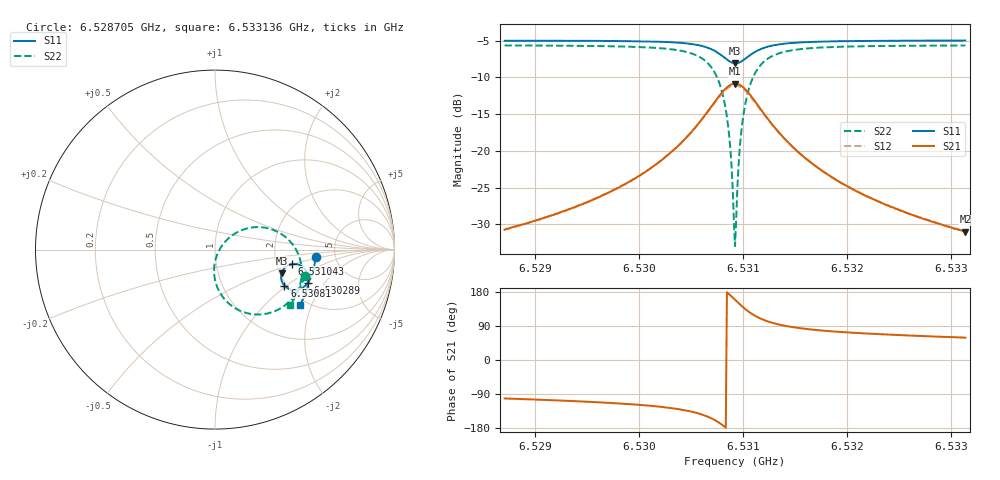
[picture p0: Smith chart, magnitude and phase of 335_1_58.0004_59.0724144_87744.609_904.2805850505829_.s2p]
#  HZ  S  RI  R  50.00
! Rohde & Schwarz Vector Network Analyzer
! Rohde-Schwarz,ZNB20-2Port,1311601062101988,3.16
! Created: UTC 3/21/2024, 1:05:15 AM
! freq[Hz]  re:S11  im:S11  re:S21  im:S21  re:S12  im:S12  re:S22  im:S22
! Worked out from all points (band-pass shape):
!   401 points, 6.528705 GHz to 6.533136 GHz, reference 50 ohm
!   highest |S21| = -10.84 dB at 6.530921 GHz (marker M1); lowest = -31.0 dB at 6.533136 GHz (marker M2)
!   |S21| within 3 dB of the highest: 6.5307 GHz to 6.531143 GHz (443.3 kHz wide, 0.00679 % of centre)
!   lowest |S11| = -8.1 dB at 6.530921 GHz (marker M3), VSWR 2.30, Z = 102 - j31.9 ohm
!   |S11| at or under -10 dB: nowhere
!   |S22| runs from -33.0 to -5.7 dB; largest |S21 - S12| = 0.011
!   S11 on the Smith chart (normalised r, x): 6.528705 GHz: 3.51, -0.42; 6.530289 GHz: 2.61, -1.39; 6.53081 GHz: 1.95, -0.97; 6.531043 GHz: 2.43, -0.48; 6.533136 GHz: 1.82, -1.65
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6.5287054e9  0.56 -0.0414  -0.00578 -0.0285  -0.00637 -0.0285  0.5005 -0.1458
6.5294476e9  0.5511 -0.1024  -0.0143 -0.0408  -0.0153 -0.0406  0.4721 -0.2131
6.5301897e9  0.5246 -0.1738  -0.0456 -0.0704  -0.0475 -0.0691  0.396 -0.3062
6.5302894e9  0.517 -0.1854  -0.0564 -0.0771  -0.0587 -0.0756  0.3731 -0.3225
6.5306439e9  0.4544 -0.225  -0.1522 -0.0953  -0.1544 -0.0893  0.1908 -0.3568
6.5307436e9  0.4158 -0.2207  -0.2122 -0.0721  -0.2118 -0.0635  0.088 -0.3095
6.53081e9  0.387 -0.201  -0.2549 -0.028  -0.251 -0.0188  0.0215 -0.2286
6.5308433e9  0.3756 -0.1841  -0.2704 0.00555  -0.2644 0.0141  0.000403 -0.17
6.5308654e9  0.3705 -0.1703  -0.2763 0.0319  -0.2688 0.0394  -0.00509 -0.1254
6.5308986e9  0.3683 -0.1473  -0.2756 0.0743  -0.2664 0.0797  0.00297 -0.0554
6.5309097e9  0.3692 -0.1394  -0.2726 0.0885  -0.263 0.0931  0.0103 -0.0324
6.5309208e9  0.3711 -0.1318  -0.268 0.1025  -0.2584 0.1062  0.02 -0.0103
6.5309319e9  0.3738 -0.1243  -0.2621 0.1159  -0.2526 0.1188  0.0317 0.0108
6.530943e9  0.3771 -0.1172  -0.255 0.1286  -0.2454 0.1306  0.0454 0.0306
6.5309651e9  0.3859 -0.1044  -0.2374 0.1513  -0.2283 0.1517  0.078 0.0652
6.5309873e9  0.3972 -0.0941  -0.2168 0.1695  -0.2082 0.1688  0.1151 0.092
6.5310426e9  0.4283 -0.0805  -0.16 0.1947  -0.1542 0.1921  0.2133 0.1242
6.5311202e9  0.4666 -0.0839  -0.0926 0.1927  -0.0894 0.1902  0.3267 0.1088
6.531231e9  0.499 -0.1065  -0.0357 0.1632  -0.0343 0.1619  0.4191 0.0451
6.531663e9  0.5203 -0.1821  0.0139 0.0807  0.0149 0.0806  0.4832 -0.1307
6.5324051e9  0.5001 -0.2548  0.0166 0.0387  0.0172 0.0385  0.4555 -0.246
6.5331362e9  0.472 -0.3083  0.0145 0.0242  0.0151 0.0241  0.42 -0.3081
